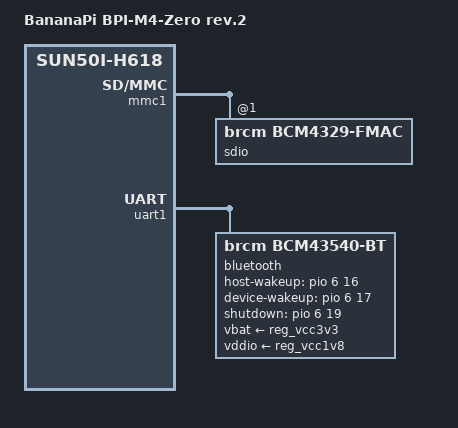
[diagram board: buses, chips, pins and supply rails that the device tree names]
// SPDX-License-Identifier: (GPL-2.0+ OR MIT)
/*
 * Copyright (c) 2026 Patrick Yavitz <pyavitz@gmail.com>
 */

/dts-v1/;

#include "sun50i-h618-bananapi-m4.dtsi"

/ {
	model = "BananaPi BPI-M4-Zero rev.2";
};

/* SDIO */
&mmc1 {
	status = "okay";

	sdio: wifi@1 {
		reg = <1>;
		compatible = "brcm,bcm4329-fmac";
	};
};

/* Bluetooth */
&uart1 {
	status = "okay";
	pinctrl-0 = <&uart1_pins>, <&uart1_rts_cts_pins>;
	pinctrl-names = "default";
	uart-has-rtscts;

	bluetooth {
		compatible = "brcm,bcm43540-bt";
		max-speed = <1500000>;
		host-wakeup-gpios = <&pio 6 16 GPIO_ACTIVE_HIGH>;
		device-wakeup-gpios = <&pio 6 17 GPIO_ACTIVE_HIGH>;
		shutdown-gpios = <&pio 6 19 GPIO_ACTIVE_HIGH>;
		vbat-supply = <&reg_vcc3v3>;
		vddio-supply = <&reg_vcc1v8>;
	};
};
